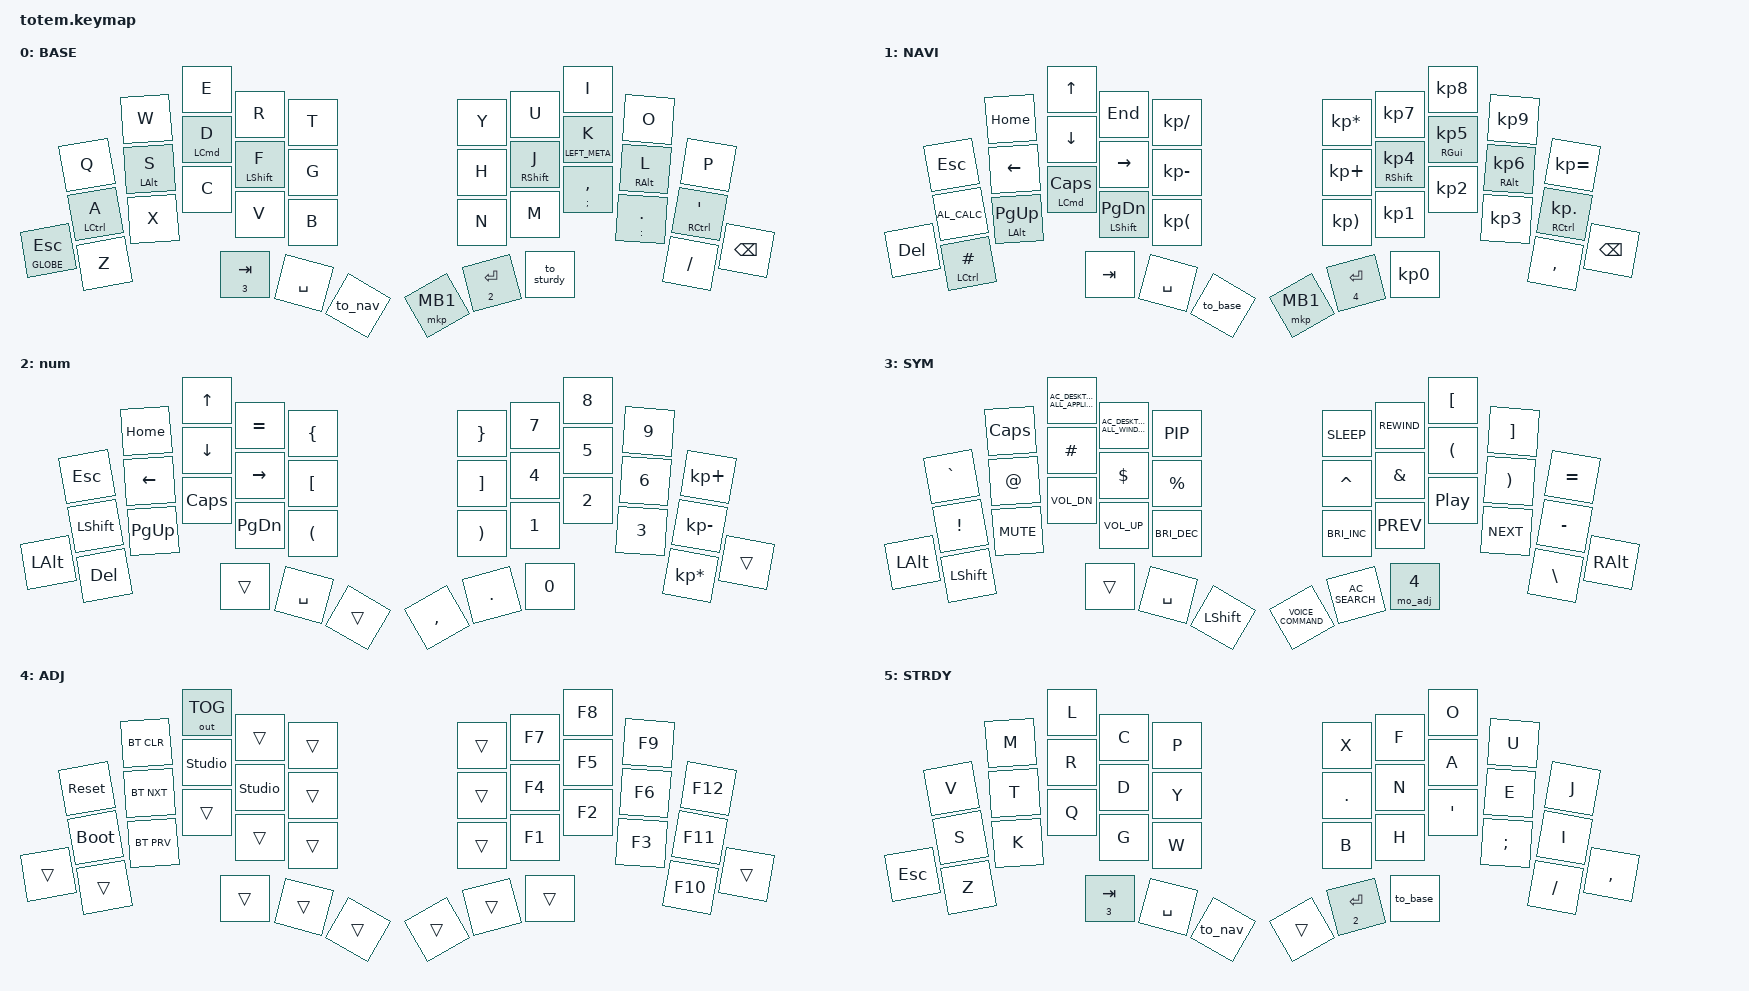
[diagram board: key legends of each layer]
//
//                                                        ▀▀▀▀▀     ▀▀▀▀▀          ▀▀█▀▀
//                                                        ▄▀▀▀▄  ▄  ▄▀▀▀▄  ▄  ▄▀▀▀▄  █  ▄▀▀▀▄
//                                                        █   █  █  █   █  █  █   █  █  █   █
//                                                         ▀▀▀   █   ▀▀▀   █   ▀▀▀   ▀   ▀▀▀
//                                                               █      ▄▄▄█▄▄▄    █   █  
//                                                               ▀      █  █  █     █▄█
//                                                             ▀▀▀▀▀    █  █  █      ▀
//                                                                      ▀  ▀  ▀
//
// ▄▄▄▄▄▄▄▄▄▄▄▄▄▄▄▄▄▄▄▄▄▄▄▄▄▄▄▄▄▄▄▄▄▄▄▄▄▄▄▄▄▄▄▄▄▄▄▄▄▄▄▄▄▄▄▄▄▄▄▄▄▄▄▄▄▄▄▄▄▄▄▄▄▄▄▄▄▄▄▄▄▄▄▄▄▄▄▄▄▄▄▄▄▄▄▄▄▄▄▄▄▄▄▄▄▄▄▄▄▄▄▄▄▄▄▄▄▄▄▄▄▄▄▄▄▄▄▄▄▄▄▄▄▄▄▄▄▄▄▄▄▄▄▄▄▄▄▄▄

#include <behaviors.dtsi>
#include <dt-bindings/zmk/bt.h>
#include <dt-bindings/zmk/keys.h>
#include <dt-bindings/zmk/outputs.h>
#include <dt-bindings/zmk/pointing.h>

#define BASE 0
#define NAV  1
#define SYM  2
#define ADJ  3
#define TVP1 4
#define TVP2 5

&mt {
    quick-tap-ms = <100>;
    global-quick-tap;
    flavor = "balanced";
    tapping-term-ms = <200>;
};

/ {
    combos {
        compatible = "zmk,combos";

        combo_esc {
            timeout-ms = <50>;
            key-positions = <0 1>;
            bindings = <&kp ESC>;
        };

        combo_tvp {
            timeout-ms = <100>;
            key-positions = <11 12 13>;
            bindings = <&tog 0>;
        };

        combo_hud {
            timeout-ms = <50>;
            key-positions = <20 31>;
            bindings = <&kp F19>;
        };
    };

    macros {
        mo_num: mo_num {
            compatible = "zmk,behavior-macro-one-param";
            #binding-cells = <1>;
            wait-ms = <0>;
            tap-ms = <0>;
            bindings =
                <&macro_param_1to1>,
                <&macro_press>,
                <&mo MACRO_PLACEHOLDER &kp F16>,
                <&macro_pause_for_release>,
                <&macro_param_1to1>,
                <&macro_release>,
                <&mo MACRO_PLACEHOLDER &kp F16>;
        };

        mo_sym: mo_sym {
            compatible = "zmk,behavior-macro-one-param";
            #binding-cells = <1>;
            wait-ms = <0>;
            tap-ms = <0>;
            bindings =
                <&macro_param_1to1>,
                <&macro_press>,
                <&mo MACRO_PLACEHOLDER &kp F17>,
                <&macro_pause_for_release>,
                <&macro_param_1to1>,
                <&macro_release>,
                <&mo MACRO_PLACEHOLDER &kp F17>;
        };

        mo_adj: mo_adj {
            compatible = "zmk,behavior-macro-one-param";
            #binding-cells = <1>;
            wait-ms = <0>;
            tap-ms = <0>;
            bindings =
                <&macro_param_1to1>,
                <&macro_press>,
                <&mo MACRO_PLACEHOLDER &kp F18>,
                <&macro_pause_for_release>,
                <&macro_param_1to1>,
                <&macro_release>,
                <&mo MACRO_PLACEHOLDER &kp F18>;
        };

        to_nav: to_nav {
            compatible = "zmk,behavior-macro";
            #binding-cells = <0>;
            bindings = <&to 1 &kp LS(F20)>;
        };

        to_sturdy: to_sturdy {
            compatible = "zmk,behavior-macro";
            #binding-cells = <0>;
            bindings = <&to 5 &kp LC(F20)>;
        };

        to_base: to_base {
            compatible = "zmk,behavior-macro";
            #binding-cells = <0>;
            bindings = <&to 0 &kp F20>;
        };

        gif: gif {
            display-name = "giphy";
            compatible = "zmk,behavior-macro";
            #binding-cells = <0>;
            bindings =
                <&macro_press>,
                <&kp LSHFT>,
                <&macro_tap>,
                <&kp N2>,
                <&macro_release>,
                <&kp LSHFT>,
                <&macro_tap>,
                <&kp G &kp I &kp F>;
        };
    };

    behaviors {
        lt_num: lt_num {
            compatible = "zmk,behavior-hold-tap";
            #binding-cells = <2>;
            flavor = "tap-preferred";
            tapping-term-ms = <200>;
            bindings = <&mo_num>, <&kp>;
        };

        lt_sym: lt_sym {
            compatible = "zmk,behavior-hold-tap";
            #binding-cells = <2>;
            flavor = "tap-preferred";
            tapping-term-ms = <200>;
            bindings = <&mo_sym>, <&kp>;
        };

        lt_adj: lt_adj {
            compatible = "zmk,behavior-hold-tap";
            #binding-cells = <2>;
            flavor = "tap-preferred";
            tapping-term-ms = <200>;
            bindings = <&mo_adj>, <&kp>;
        };

        HMShiftR: HMShiftR {
            compatible = "zmk,behavior-hold-tap";
            label = "HMSHIFTR";
            bindings = <&kp>, <&kp>;

            #binding-cells = <2>;
            tapping-term-ms = <2000>;
            hold-while-undecided;
            hold-trigger-key-positions = <0 1 4 20 21 22 23 24 25 32 33 3 2 0 1 2 3 4 20 21 22 23 24 25 32 33 34 14>;
            quick-tap-ms = <200>;
            flavor = "balanced";
            require-prior-idle-ms = <125>;
        };

        HMShiftL: HMShiftL {
            compatible = "zmk,behavior-hold-tap";
            label = "HMSHIFTL";
            bindings = <&kp>, <&kp>;

            #binding-cells = <2>;
            tapping-term-ms = <2000>;
            hold-while-undecided;
            hold-trigger-key-positions = <5 6 7 8 9 15 26 27 28 29 30 31 35 36 37>;
            quick-tap-ms = <200>;
            require-prior-idle-ms = <125>;
            flavor = "balanced";
        };

        HMRowR: HMRowR {
            compatible = "zmk,behavior-hold-tap";
            label = "HMROWR";
            bindings = <&kp>, <&kp>;

            #binding-cells = <2>;
            tapping-term-ms = <2000>;
            hold-while-undecided;
            hold-trigger-key-positions = <0 1 4 14 20 21 22 23 24 25 32 33 3 2 0 1 2 3 4 14 20 21 22 23 24 25 32 33 34>;
            quick-tap-ms = <125>;
            flavor = "balanced";
            require-prior-idle-ms = <125>;
        };

        HMRowL: HMRowL {
            compatible = "zmk,behavior-hold-tap";
            label = "HMROWL";
            bindings = <&kp>, <&kp>;

            #binding-cells = <2>;
            tapping-term-ms = <2000>;
            hold-while-undecided;
            quick-tap-ms = <200>;
            flavor = "balanced";
            hold-trigger-key-positions = <5 6 7 8 9 15 26 27 28 29 30 31 35 36 37>;
            require-prior-idle-ms = <125>;
        };
    };

    keymap {
        compatible = "zmk,keymap";

        // ▄▄▄▄▄▄▄▄▄▄▄▄▄▄▄▄▄▄▄▄▄▄▄▄▄▄▄▄▄▄▄▄▄▄▄▄▄▄▄▄▄▄▄▄▄▄▄▄▄▄▄▄▄▄▄▄▄▄▄▄▄▄▄▄▄▄▄▄▄▄▄▄▄▄▄▄▄▄▄▄▄▄▄▄▄▄▄▄▄▄▄▄▄▄▄▄▄▄▄▄▄▄▄▄▄▄▄▄▄▄▄▄▄▄▄▄▄▄▄▄▄▄▄▄▄▄▄▄▄▄▄▄▄▄▄▄▄▄▄▄▄▄▄▄▄▄▄▄▄

        base_layer {
            // ┏━━━━━━━━━━━━━━━━━━━━━━━━━━━━━━━━━━━━━━━┓

            display-name = "BASE";

            // ┗━━━━━━━━━━━━━━━━━━━━━━━━━━━━━━━━━━━━━━━┛
            //             ┏━━━━━━━━━━━┳━━━━━━━━━━━┳━━━━━━━━━━━┳━━━━━━━━━━━┳━━━━━━━━━━━┓   ┏━━━━━━━━━━━┳━━━━━━━━━━━┳━━━━━━━━━━━┳━━━━━━━━━━━┳━━━━━━━━━━━┓
            //             ┃     Q     ┃     W     ┃     F     ┃     P     ┃     G     ┃   ┃     J     ┃     L     ┃     U     ┃     Y     ┃     ;     ┃
            //             ┣━━━━━━━━━━━╋━━━━━━━━━━━╋━━━━━━━━━━━╋━━━━━━━━━━━╋━━━━━━━━━━━┫   ┣━━━━━━━━━━━╋━━━━━━━━━━━╋━━━━━━━━━━━╋━━━━━━━━━━━╋━━━━━━━━━━━┫
            //             ┃     A     ┃     R     ┃     S     ┃     T     ┃     D     ┃   ┃     H     ┃     N     ┃     E     ┃     I     ┃     O     ┃
            // ┏━━━━━━━━━━━╋━━━━━━━━━━━╋━━━━━━━━━━━╋━━━━━━━━━━━╋━━━━━━━━━━━╋━━━━━━━━━━━┫   ┣━━━━━━━━━━━╋━━━━━━━━━━━╋━━━━━━━━━━━╋━━━━━━━━━━━╋━━━━━━━━━━━╋━━━━━━━━━━━┓
            // ┃   btclr   ┃     Z     ┃     X     ┃     C     ┃     V     ┃     B     ┃   ┃     K     ┃     M     ┃     ,     ┃     .     ┃     /     ┃     \     ┃
            // ┗━━━━━━━━━━━┻━━━━━━━━━━━┻━━━━━━━━━━━╋━━━━━━━━━━━╋━━━━━━━━━━━╋━━━━━━━━━━━┫   ┣━━━━━━━━━━━╋━━━━━━━━━━━╋━━━━━━━━━━━╋━━━━━━━━━━━┻━━━━━━━━━━━┻━━━━━━━━━━━┛
            //                                     ┃    zmk    ┃    TAB    ┃    SPC    ┃   ┃   ENTER   ┃           ┃   BSPC    ┃
            //                                     ┗━━━━━━━━━━━┻━━━━━━━━━━━┻━━━━━━━━━━━┛   ┗━━━━━━━━━━━┻━━━━━━━━━━━┻━━━━━━━━━━━┛

            bindings = <
                  &kp Q            &kp W           &kp E           &kp R              &kp T      &kp Y     &kp U              &kp I                &kp O             &kp P
                  &HMRowL LCTRL A  &HMRowL LALT S  &HMRowL LCMD D  &HMShiftL LSHFT F  &kp G      &kp H     &HMShiftR RSHFT J  &HMRowR LEFT_META K  &HMRowR RALT L    &HMRowR RCTRL SQT
&mt GLOBE ESCAPE  &kp Z            &kp X           &kp C           &kp V              &kp B      &kp N     &kp M              &mt SEMI COMMA       &mt COLON PERIOD  &kp FSLH           &kp BACKSPACE
                                                   &lt_sym 3 TAB   &kp SPACE          &to_nav    &mkp MB1  &lt_num 2 RETURN   &to_sturdy
            >;
        };

        nav_layer {
            // ┏━━━━━━━━━━━━━━━━━━━━━━━━━━━━━━━━━━━━━━━┓

            display-name = "NAVI";

            // ┗━━━━━━━━━━━━━━━━━━━━━━━━━━━━━━━━━━━━━━━┛
            //             ┏━━━━━━━━━━━┳━━━━━━━━━━━┳━━━━━━━━━━━┳━━━━━━━━━━━┳━━━━━━━━━━━┓   ┏━━━━━━━━━━━┳━━━━━━━━━━━┳━━━━━━━━━━━┳━━━━━━━━━━━┳━━━━━━━━━━━┓
            //             ┃           ┃           ┃     UP    ┃           ┃     {     ┃   ┃     }     ┃     7     ┃     8     ┃     9     ┃     +     ┃
            //             ┣━━━━━━━━━━━╋━━━━━━━━━━━╋━━━━━━━━━━━╋━━━━━━━━━━━╋━━━━━━━━━━━┫   ┣━━━━━━━━━━━╋━━━━━━━━━━━╋━━━━━━━━━━━╋━━━━━━━━━━━╋━━━━━━━━━━━┫
            //             ┃   SHIFT   ┃   LEFT    ┃    DOWN   ┃   RIGHT   ┃     [     ┃   ┃     ]     ┃     4     ┃     5     ┃     6     ┃     -     ┃
            // ┏━━━━━━━━━━━╋━━━━━━━━━━━╋━━━━━━━━━━━╋━━━━━━━━━━━╋━━━━━━━━━━━╋━━━━━━━━━━━┫   ┣━━━━━━━━━━━╋━━━━━━━━━━━╋━━━━━━━━━━━╋━━━━━━━━━━━╋━━━━━━━━━━━╋━━━━━━━━━━━┓
            // ┃           ┃           ┃   P UP    ┃  C LOCK   ┃  P DOWN   ┃     (     ┃   ┃     )     ┃     1     ┃     2     ┃     3     ┃     *     ┃           ┃
            // ┗━━━━━━━━━━━┻━━━━━━━━━━━┻━━━━━━━━━━━╋━━━━━━━━━━━╋━━━━━━━━━━━╋━━━━━━━━━━━┫   ┣━━━━━━━━━━━╋━━━━━━━━━━━╋━━━━━━━━━━━╋━━━━━━━━━━━┻━━━━━━━━━━━┻━━━━━━━━━━━┛
            //                                     ┃           ┃    TAB    ┃    SPC    ┃   ┃    DEL    ┃     0     ┃           ┃
            //                                     ┗━━━━━━━━━━━┻━━━━━━━━━━━┻━━━━━━━━━━━┛   ┗━━━━━━━━━━━┻━━━━━━━━━━━┻━━━━━━━━━━━┛

            bindings = <
            &kp ESC                &kp HOME              &kp UP                     &kp END                   &kp KP_DIVIDE              &kp KP_ASTERISK           &kp KP_NUMBER_7              &kp KP_NUMBER_8            &kp KP_NUMBER_9            &kp KP_EQUAL
            &kp C_AL_CALC          &kp LEFT              &kp DOWN                   &kp RIGHT                 &kp KP_SUBTRACT            &kp KP_PLUS               &mt RIGHT_SHIFT KP_NUMBER_4  &mt RIGHT_GUI KP_NUMBER_5  &mt RIGHT_ALT KP_NUMBER_6  &mt RCTRL KP_DOT
&kp DELETE  &mt LEFT_CONTROL HASH  &mt LEFT_ALT PAGE_UP  &mt LEFT_COMMAND CAPSLOCK  &mt LEFT_SHIFT PAGE_DOWN  &kp KP_LEFT_PARENTHESIS    &kp KP_RIGHT_PARENTHESIS  &kp KP_NUMBER_1              &kp KP_NUMBER_2            &kp KP_NUMBER_3            &kp COMMA         &kp BACKSPACE
                                                         &kp TAB                    &kp SPACE                 &to_base                   &mkp MB1                  &lt_adj 4 RETURN             &kp KP_NUMBER_0
            >;
        };

        numbers {
            display-name = "num";
            bindings = <
              &kp ESC    &kp HOME   &kp UP    &kp EQUAL  &kp LBRC    &kp RBRC   &kp N7        &kp N8        &kp N9        &kp KP_PLUS
              &kp LSHFT  &kp LEFT   &kp DOWN  &kp RIGHT  &kp LBKT    &kp RBKT   &kp NUMBER_4  &kp N5        &kp NUMBER_6  &kp KP_MINUS
&kp LEFT_ALT  &kp DEL    &kp PG_UP  &kp CAPS  &kp PG_DN  &kp LPAR    &kp RPAR   &kp NUMBER_1  &kp NUMBER_2  &kp NUMBER_3  &kp KP_MULTIPLY  &trans
                                    &trans    &kp SPACE  &trans      &kp COMMA  &kp PERIOD    &kp N0
            >;
        };

        sim_layer {
            // ┏━━━━━━━━━━━━━━━━━━━━━━━━━━━━━━━━━━━━━━━┓

            display-name = "SYM";

            // ┗━━━━━━━━━━━━━━━━━━━━━━━━━━━━━━━━━━━━━━━┛
            //             ┏━━━━━━━━━━━┳━━━━━━━━━━━┳━━━━━━━━━━━┳━━━━━━━━━━━┳━━━━━━━━━━━┓   ┏━━━━━━━━━━━┳━━━━━━━━━━━┳━━━━━━━━━━━┳━━━━━━━━━━━┳━━━━━━━━━━━┓
            //             ┃     !     ┃     @     ┃     #     ┃     $     ┃     %     ┃   ┃     ˆ     ┃     &     ┃     Ü     ┃     '     ┃     "     ┃
            //             ┣━━━━━━━━━━━╋━━━━━━━━━━━╋━━━━━━━━━━━╋━━━━━━━━━━━╋━━━━━━━━━━━┫   ┣━━━━━━━━━━━╋━━━━━━━━━━━╋━━━━━━━━━━━╋━━━━━━━━━━━╋━━━━━━━━━━━┫
            //             ┃     Ä     ┃           ┃    SZ     ┃           ┃           ┃   ┃   MUTE    ┃   YEN     ┃   EURO    ┃  POUND    ┃     Ö     ┃
            // ┏━━━━━━━━━━━╋━━━━━━━━━━━╋━━━━━━━━━━━╋━━━━━━━━━━━╋━━━━━━━━━━━╋━━━━━━━━━━━┫   ┣━━━━━━━━━━━╋━━━━━━━━━━━╋━━━━━━━━━━━╋━━━━━━━━━━━╋━━━━━━━━━━━╋━━━━━━━━━━━┓
            // ┃           ┃  EMAIL1   ┃  EMAIL2   ┃           ┃           ┃           ┃   ┃   VOL-    ┃   VOL+    ┃   LAST    ┃   NEXT    ┃     \     ┃           ┃
            // ┗━━━━━━━━━━━┻━━━━━━━━━━━┻━━━━━━━━━━━╋━━━━━━━━━━━╋━━━━━━━━━━━╋━━━━━━━━━━━┫   ┣━━━━━━━━━━━╋━━━━━━━━━━━╋━━━━━━━━━━━╋━━━━━━━━━━━┻━━━━━━━━━━━┻━━━━━━━━━━━┛
            //                                     ┃           ┃    GIF    ┃    ADJ    ┃   ┃           ┃           ┃           ┃
            //                                     ┗━━━━━━━━━━━┻━━━━━━━━━━━┻━━━━━━━━━━━┛   ┗━━━━━━━━━━━┻━━━━━━━━━━━┻━━━━━━━━━━━┛

            bindings = <
              &kp GRAVE        &kp CAPS     &kp C_AC_DESKTOP_SHOW_ALL_APPLICATIONS  &kp C_AC_DESKTOP_SHOW_ALL_WINDOWS  &kp C_PIP               &kp C_SLEEP           &kp C_REWIND     &kp LEFT_BRACKET      &kp RIGHT_BRACKET      &kp EQUAL
              &kp EXCLAMATION  &kp AT_SIGN  &kp HASH                                &kp DOLLAR                         &kp PERCENT             &kp CARET             &kp AMPERSAND    &kp LEFT_PARENTHESIS  &kp RIGHT_PARENTHESIS  &kp MINUS
&kp LEFT_ALT  &kp LSHFT        &kp C_MUTE   &kp C_VOL_DN                            &kp C_VOLUME_UP                    &kp C_BRIGHTNESS_DEC    &kp C_BRIGHTNESS_INC  &kp C_PREV       &kp C_PLAY_PAUSE      &kp C_NEXT             &kp BSLH   &kp RIGHT_ALT
                                            &trans                                  &kp SPACE                          &kp LEFT_SHIFT          &kp C_VOICE_COMMAND   &kp C_AC_SEARCH  &mo_adj 4
            >;
        };

        function_keys {
            // ┏━━━━━━━━━━━━━━━━━━━━━━━━━━━━━━━━━━━━━━━┓

            display-name = "ADJ";

            // ┗━━━━━━━━━━━━━━━━━━━━━━━━━━━━━━━━━━━━━━━┛
            //             ┏━━━━━━━━━━━┳━━━━━━━━━━━┳━━━━━━━━━━━┳━━━━━━━━━━━┳━━━━━━━━━━━┓   ┏━━━━━━━━━━━┳━━━━━━━━━━━┳━━━━━━━━━━━┳━━━━━━━━━━━┳━━━━━━━━━━━┓
            //             ┃   RESET   ┃ BT CLEAR  ┃  OUT TOG  ┃           ┃           ┃   ┃           ┃    F7     ┃    F8     ┃    F9     ┃    F12    ┃
            //             ┣━━━━━━━━━━━╋━━━━━━━━━━━╋━━━━━━━━━━━╋━━━━━━━━━━━╋━━━━━━━━━━━┫   ┣━━━━━━━━━━━╋━━━━━━━━━━━╋━━━━━━━━━━━╋━━━━━━━━━━━╋━━━━━━━━━━━┫
            //             ┃ BOOTLOAD  ┃ BT NEXT   ┃           ┃           ┃           ┃   ┃           ┃    F4     ┃    F5     ┃    F6     ┃    F11    ┃
            // ┏━━━━━━━━━━━╋━━━━━━━━━━━╋━━━━━━━━━━━╋━━━━━━━━━━━╋━━━━━━━━━━━╋━━━━━━━━━━━┫   ┣━━━━━━━━━━━╋━━━━━━━━━━━╋━━━━━━━━━━━╋━━━━━━━━━━━╋━━━━━━━━━━━╋━━━━━━━━━━━┓
            // ┃           ┃           ┃ BT PREV   ┃           ┃           ┃           ┃   ┃           ┃    F1     ┃    F2     ┃    F3     ┃    F10    ┃           ┃
            // ┗━━━━━━━━━━━┻━━━━━━━━━━━┻━━━━━━━━━━━╋━━━━━━━━━━━╋━━━━━━━━━━━╋━━━━━━━━━━━┫   ┣━━━━━━━━━━━╋━━━━━━━━━━━╋━━━━━━━━━━━╋━━━━━━━━━━━┻━━━━━━━━━━━┻━━━━━━━━━━━┛
            //                                     ┃           ┃           ┃           ┃   ┃           ┃           ┃           ┃
            //                                     ┗━━━━━━━━━━━┻━━━━━━━━━━━┻━━━━━━━━━━━┛   ┗━━━━━━━━━━━┻━━━━━━━━━━━┻━━━━━━━━━━━┛

            bindings = <
        &sys_reset   &bt BT_CLR  &out OUT_TOG    &trans          &trans    &trans  &kp F7  &kp F8  &kp F9  &kp F12
        &bootloader  &bt BT_NXT  &studio_unlock  &studio_unlock  &trans    &trans  &kp F4  &kp F5  &kp F6  &kp F11
&trans  &trans       &bt BT_PRV  &trans          &trans          &trans    &trans  &kp F1  &kp F2  &kp F3  &kp F10  &trans
                                 &trans          &trans          &trans    &trans  &trans  &trans
            >;
        };

        sturdy {
            // ┏━━━━━━━━━━━━━━━━━━━━━━━━━━━━━━━━━━━━━━━┓

            display-name = "STRDY";

            // ┗━━━━━━━━━━━━━━━━━━━━━━━━━━━━━━━━━━━━━━━┛
            //             ┏━━━━━━━━━━━┳━━━━━━━━━━━┳━━━━━━━━━━━┳━━━━━━━━━━━┳━━━━━━━━━━━┓   ┏━━━━━━━━━━━┳━━━━━━━━━━━┳━━━━━━━━━━━┳━━━━━━━━━━━┳━━━━━━━━━━━┓
            //             ┃ SOLO      ┃ TOGGLE IN ┃ RESET ROT ┃ TOGGLE OUT┃ TAKE SNAP ┃   ┃           ┃           ┃           ┃           ┃           ┃
            //             ┣━━━━━━━━━━━╋━━━━━━━━━━━╋━━━━━━━━━━━╋━━━━━━━━━━━╋━━━━━━━━━━━┫   ┣━━━━━━━━━━━╋━━━━━━━━━━━╋━━━━━━━━━━━╋━━━━━━━━━━━╋━━━━━━━━━━━┫
            //             ┃ ---       ┃ LAST KEY  ┃ NEW KEY   ┃ NEXT KEY  ┃ ENTER     ┃   ┃           ┃           ┃           ┃           ┃           ┃
            // ┏━━━━━━━━━━━╋━━━━━━━━━━━╋━━━━━━━━━━━╋━━━━━━━━━━━╋━━━━━━━━━━━╋━━━━━━━━━━━┫   ┣━━━━━━━━━━━╋━━━━━━━━━━━╋━━━━━━━━━━━╋━━━━━━━━━━━╋━━━━━━━━━━━╋━━━━━━━━━━━┓
            // ┃           ┃ FULLSCR   ┃ CPY2BRUSH ┃ DEL HEAD  ┃ PSTinPLACE┃ BOOK MARK ┃   ┃           ┃           ┃           ┃           ┃           ┃           ┃
            // ┗━━━━━━━━━━━┻━━━━━━━━━━━┻━━━━━━━━━━━╋━━━━━━━━━━━╋━━━━━━━━━━━╋━━━━━━━━━━━┫   ┣━━━━━━━━━━━╋━━━━━━━━━━━╋━━━━━━━━━━━╋━━━━━━━━━━━┻━━━━━━━━━━━┻━━━━━━━━━━━┛
            //                                     ┃           ┃ REDO/SAV1 ┃TRANS/WARP ┃   ┃           ┃           ┃           ┃
            //                                     ┗━━━━━━━━━━━┻━━━━━━━━━━━┻━━━━━━━━━━━┛   ┗━━━━━━━━━━━┻━━━━━━━━━━━┻━━━━━━━━━━━┛

            bindings = <
         &kp V  &kp M  &kp L          &kp C      &kp P      &kp X    &kp F          &kp O     &kp U     &kp J
         &kp S  &kp T  &kp R          &kp D      &kp Y      &kp DOT  &kp N          &kp A     &kp E     &kp I
&kp ESC  &kp Z  &kp K  &kp Q          &kp G      &kp W      &kp B    &kp H          &kp SQT   &kp SEMI  &kp FSLH  &kp COMMA
                       &lt_sym 3 TAB  &kp SPACE  &to_nav    &trans   &lt_num 2 RET  &to_base
            >;
        };
    };
};
